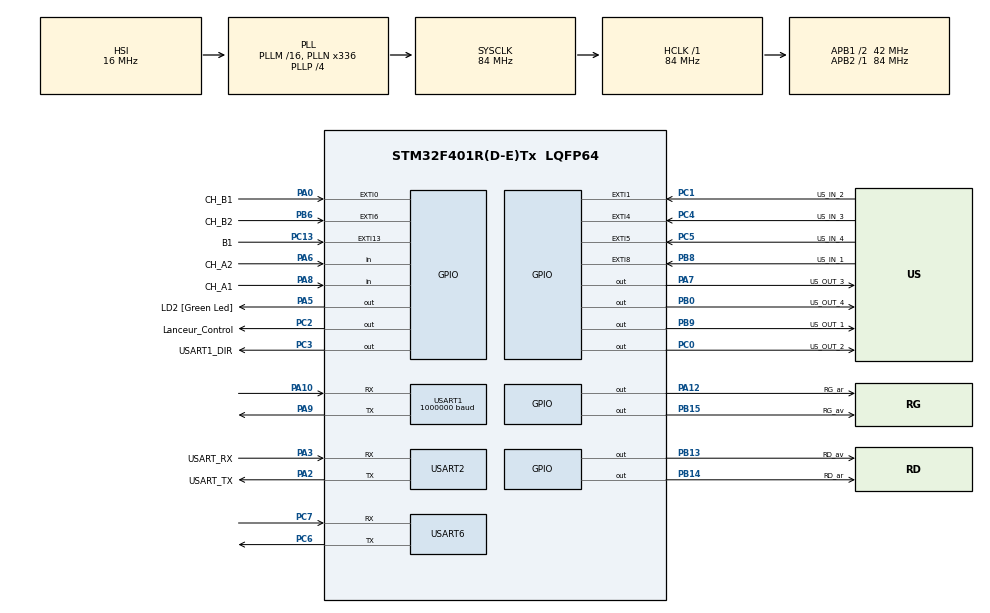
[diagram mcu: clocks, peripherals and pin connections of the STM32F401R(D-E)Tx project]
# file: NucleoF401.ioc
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Mcu.Family=STM32F4
Mcu.Name=STM32F401R(D-E)Tx
Mcu.Package=LQFP64
NVIC.EXTI0_IRQn=true\:0\:0\:false\:false\:true\:true
NVIC.EXTI15_10_IRQn=true\:0\:0\:false\:false\:true\:true
NVIC.EXTI1_IRQn=true\:0\:0\:false\:false\:true\:true
NVIC.EXTI4_IRQn=true\:0\:0\:false\:false\:true\:true
NVIC.EXTI9_5_IRQn=true\:0\:0\:false\:false\:true\:true
NVIC.PriorityGroup=NVIC_PRIORITYGROUP_0
NVIC.TIM1_UP_TIM10_IRQn=true\:0\:0\:false\:false\:true\:true
NVIC.TIM3_IRQn=true\:0\:0\:false\:false\:true\:true
PA0-WKUP.GPIO_Label=CH_B1
PA0-WKUP.GPIO_ModeDefaultEXTI=GPIO_MODE_IT_RISING_FALLING
PA0-WKUP.Signal=GPXTI0
PA10.Mode=Asynchronous
PA10.Signal=USART1_RX
PA12.GPIO_Label=RG_ar
PA12.Signal=GPIO_Output
PA13.GPIO_Label=TMS
PA13.Signal=SYS_JTMS-SWDIO
PA14.GPIO_Label=TCK
PA14.Signal=SYS_JTCK-SWCLK
PA2.GPIO_Label=USART_TX
PA2.GPIO_Mode=GPIO_MODE_AF_PP
PA2.GPIO_PuPd=GPIO_NOPULL
PA2.GPIO_Speed=GPIO_SPEED_FREQ_LOW
PA2.Mode=Asynchronous
PA2.Signal=USART2_TX
PA3.GPIO_Label=USART_RX
PA3.GPIO_Mode=GPIO_MODE_AF_PP
PA3.GPIO_PuPd=GPIO_NOPULL
PA3.GPIO_Speed=GPIO_SPEED_FREQ_LOW
PA3.Mode=Asynchronous
PA3.Signal=USART2_RX
PA5.GPIO_Label=LD2 [Green Led]
PA5.GPIO_Mode=GPIO_MODE_OUTPUT_PP
PA5.GPIO_PuPd=GPIO_NOPULL
PA5.GPIO_Speed=GPIO_SPEED_FREQ_LOW
PA5.Signal=GPIO_Output
PA6.GPIO_Label=CH_A2
PA6.Signal=GPIO_Input
PA7.GPIO_Label=US_OUT_3
PA7.Signal=GPIO_Output
PA8.GPIO_Label=CH_A1
PA8.Signal=GPIO_Input
PA9.Mode=Asynchronous
PA9.Signal=USART1_TX
PB0.GPIO_Label=US_OUT_4
PB0.Signal=GPIO_Output
PB13.GPIO_Label=RD_av
PB13.Signal=GPIO_Output
PB14.GPIO_Label=RD_ar
PB14.Signal=GPIO_Output
PB15.GPIO_Label=RG_av
PB15.Signal=GPIO_Output
PB3.GPIO_Label=SWO
PB3.Signal=SYS_JTDO-SWO
PB6.GPIO_Label=CH_B2
PB6.GPIO_ModeDefaultEXTI=GPIO_MODE_IT_RISING_FALLING
PB6.Signal=GPXTI6
PB8.GPIO_Label=US_IN_1
PB8.GPIO_ModeDefaultEXTI=GPIO_MODE_IT_RISING_FALLING
PB8.Signal=GPXTI8
PB9.GPIO_Label=US_OUT_1
PB9.Signal=GPIO_Output
PC0.GPIO_Label=US_OUT_2
PC0.Signal=GPIO_Output
PC1.GPIO_Label=US_IN_2
PC1.GPIO_ModeDefaultEXTI=GPIO_MODE_IT_RISING_FALLING
PC1.Signal=GPXTI1
PC13-ANTI_TAMP.GPIO_Label=B1
PC13-ANTI_TAMP.GPIO_ModeDefaultEXTI=GPIO_MODE_IT_FALLING
PC13-ANTI_TAMP.GPIO_PuPd=GPIO_NOPULL
PC13-ANTI_TAMP.Signal=GPXTI13
PC14-OSC32_IN.Signal=RCC_OSC32_IN
PC15-OSC32_OUT.Signal=RCC_OSC32_OUT
PC2.GPIO_Label=Lanceur_Control
PC2.Signal=GPIO_Output
PC3.GPIO_Label=USART1_DIR
PC3.Signal=GPIO_Output
PC4.GPIO_Label=US_IN_3
PC4.GPIO_ModeDefaultEXTI=GPIO_MODE_IT_RISING_FALLING
PC4.Signal=GPXTI4
PC5.GPIO_Label=US_IN_4
PC5.GPIO_ModeDefaultEXTI=GPIO_MODE_IT_RISING_FALLING
PC5.Signal=GPXTI5
PC6.Mode=Asynchronous
PC6.Signal=USART6_TX
PC7.Mode=Asynchronous
PC7.Signal=USART6_RX
PH0\ -\ OSC_IN.Signal=RCC_OSC_IN
PH1\ -\ OSC_OUT.Signal=RCC_OSC_OUT
ProjectManager.HeapSize=0x200
ProjectManager.StackSize=0x400
ProjectManager.TargetToolchain=Makefile
RCC.AHBFreq_Value=84000000
RCC.APB1CLKDivider=RCC_HCLK_DIV2
RCC.APB1Freq_Value=42000000
RCC.APB1TimFreq_Value=84000000
RCC.APB2Freq_Value=84000000
RCC.APB2TimFreq_Value=84000000
RCC.CortexFreq_Value=84000000
RCC.HCLKFreq_Value=84000000
RCC.HSE_VALUE=8000000
RCC.HSI_VALUE=16000000
RCC.LSE_VALUE=32768
RCC.PLLN=336
RCC.PLLP=RCC_PLLP_DIV4
RCC.PLLQ=7
RCC.SYSCLKFreq_VALUE=84000000
RCC.SYSCLKSource=RCC_SYSCLKSOURCE_PLLCLK
RCC.VCOOutputFreq_Value=336000000
TIM10.Period=8-1
TIM10.Prescaler=1000-1
TIM3.Period=1000-1
TIM3.Prescaler=42000-1
USART1.BaudRate=1000000
USART1.VirtualMode=VM_ASYNC
USART2.VirtualMode=VM_ASYNC
USART6.VirtualMode=VM_ASYNC
VP_TIM10_VS_ClockSourceINT.Mode=Enable_Timer
VP_TIM3_VS_ClockSourceINT.Mode=Internal
board=NUCLEO-F401RE

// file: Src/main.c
/**
  ******************************************************************************
  * @file           : main.c
  * @brief          : Main program body
  ******************************************************************************
  ** This notice applies to any and all portions of this file
  * that are not between comment pairs USER CODE BEGIN and
  * USER CODE END. Other portions of this file, whether
  * inserted by the user or by software development tools
  * are owned by their respective copyright owners.
  *
  * COPYRIGHT(c) 2018 STMicroelectronics
  *
  * Redistribution and use in source and binary forms, with or without modification,
  * are permitted provided that the following conditions are met:
  *   1. Redistributions of source code must retain the above copyright notice,
  *      this list of conditions and the following disclaimer.
  *   2. Redistributions in binary form must reproduce the above copyright notice,
  *      this list of conditions and the following disclaimer in the documentation
  *      and/or other materials provided with the distribution.
  *   3. Neither the name of STMicroelectronics nor the names of its contributors
  *      may be used to endorse or promote products derived from this software
  *      without specific prior written permission.
  *
  * THIS SOFTWARE IS PROVIDED BY THE COPYRIGHT HOLDERS AND CONTRIBUTORS "AS IS"
  * AND ANY EXPRESS OR IMPLIED WARRANTIES, INCLUDING, BUT NOT LIMITED TO, THE
  * IMPLIED WARRANTIES OF MERCHANTABILITY AND FITNESS FOR A PARTICULAR PURPOSE ARE
  * DISCLAIMED. IN NO EVENT SHALL THE COPYRIGHT HOLDER OR CONTRIBUTORS BE LIABLE
  * FOR ANY DIRECT, INDIRECT, INCIDENTAL, SPECIAL, EXEMPLARY, OR CONSEQUENTIAL
  * DAMAGES (INCLUDING, BUT NOT LIMITED TO, PROCUREMENT OF SUBSTITUTE GOODS OR
  * SERVICES; LOSS OF USE, DATA, OR PROFITS; OR BUSINESS INTERRUPTION) HOWEVER
  * CAUSED AND ON ANY THEORY OF LIABILITY, WHETHER IN CONTRACT, STRICT LIABILITY,
  * OR TORT (INCLUDING NEGLIGENCE OR OTHERWISE) ARISING IN ANY WAY OUT OF THE USE
  * OF THIS SOFTWARE, EVEN IF ADVISED OF THE POSSIBILITY OF SUCH DAMAGE.
  *
  ******************************************************************************
  */
#include "main.h"
#include "stm32f4xx_hal.h"
#include "tim.h"
#include "usart.h"
#include "gpio.h"

/* USER CODE BEGIN Includes */
//include odometry vl
#include "motor.h"
#include "odometry.h"
#include "Robotronik_corp_pid.h"
/* USER CODE END Includes */

/* USER CODE BEGIN PV */
/* Private variables ---------------------------------------------------------*/
//var for odometry
Odometry odometry;
volatile int sum_goal,diff_goal;
PID_DATA pid_sum;
PID_DATA pid_diff;

//robot dimension ... cf odometry.c
extern volatile int ENCODER_DIST;//distance between encoders
extern volatile int ENCODER_STEP_DIST;//distance for 1 encoder step/2
extern volatile int deltaL;
/* USER CODE END PV */

void SystemClock_Config(void);

/* USER CODE BEGIN PFP */
/* Private function prototypes -----------------------------------------------*/

/* USER CODE END PFP */

int main(void)
{

  /* MCU Configuration----------------------------------------------------------*/

  /* Reset of all peripherals, Initializes the Flash interface and the Systick. */
  HAL_Init();

  /* Configure the system clock */
  SystemClock_Config();

  /* Initialize all configured peripherals */
  MX_GPIO_Init();
  MX_USART1_UART_Init();
  MX_TIM3_Init();
  MX_USART2_UART_Init();
  MX_USART6_UART_Init();
  MX_TIM10_Init();
  /* USER CODE BEGIN 2 */
// PID init ------------------------------------------------------------------------
int Te = 10;//in ms
  int prec_steps_l=0,prec_steps_r=0;
  float kc=0,speed_percent=0,vr=0,vl=0,wc=0,val_r,val_l;//for interpolation
  //PID Sum
  pid_sum = (PID_DATA) {.Te = 0.01,
				 .Kp = 0.01,
				 .Ki = 0.01,
				 .Kd = 0.0001};
  pid_init(&pid_sum);

  //PID Diff
  pid_diff = (PID_DATA) {.Te = 0.01,
				  .Kp = 0.01,
				  .Ki = 0.01,
				  .Kd = 0.0001};
  pid_init(&pid_diff);

  fsm_pos_pts.pid_speed_l=(PID_SPEED_DATA) {.Te = 0.01,
				 .Kp = 0.01,
				 .Ki = 0.01,
				 .Kd = 0.0001};
  fsm_pos_pts.pid_speed_r=(PID_SPEED_DATA) {.Te = 0.01,
				 .Kp = 0.01,
				 .Ki = 0.01,
				 .Kd = 0.0001};

// odometry init --------------------------------------------------------------------------
init_odometry(&odometry, &htim10);
HAL_GPIO_WritePin(LD2_GPIO_Port,LD2_Pin,GPIO_PIN_RESET); // on eteind la led
  /* USER CODE END 2 */

  /* Infinite loop */
  /* USER CODE BEGIN WHILE */
  while (1)
  {
// lets go baby
  if((odometry->x >100)||(odometry->y >100)||(odometry->x <100)||(odometry->y <100)){
    HAL_GPIO_WritePin(LD2_GPIO_Port,LD2_Pin,GPIO_PIN_SET); // si 10 centimètre parcourut on alumen la led

  }
  /* USER CODE END WHILE */

  }

}

void SystemClock_Config(void)
{

  RCC_OscInitTypeDef RCC_OscInitStruct;
  RCC_ClkInitTypeDef RCC_ClkInitStruct;

    /**Configure the main internal regulator output voltage
    */
  __HAL_RCC_PWR_CLK_ENABLE();

  __HAL_PWR_VOLTAGESCALING_CONFIG(PWR_REGULATOR_VOLTAGE_SCALE2);

    /**Initializes the CPU, AHB and APB busses clocks
    */
  RCC_OscInitStruct.OscillatorType = RCC_OSCILLATORTYPE_HSI;
  RCC_OscInitStruct.HSIState = RCC_HSI_ON;
  RCC_OscInitStruct.HSICalibrationValue = 16;
  RCC_OscInitStruct.PLL.PLLState = RCC_PLL_ON;
  RCC_OscInitStruct.PLL.PLLSource = RCC_PLLSOURCE_HSI;
  RCC_OscInitStruct.PLL.PLLM = 16;
  RCC_OscInitStruct.PLL.PLLN = 336;
  RCC_OscInitStruct.PLL.PLLP = RCC_PLLP_DIV4;
  RCC_OscInitStruct.PLL.PLLQ = 7;
  if (HAL_RCC_OscConfig(&RCC_OscInitStruct) != HAL_OK)
  {
    _Error_Handler(__FILE__, __LINE__);
  }

    /**Initializes the CPU, AHB and APB busses clocks
    */
  RCC_ClkInitStruct.ClockType = RCC_CLOCKTYPE_HCLK|RCC_CLOCKTYPE_SYSCLK
                              |RCC_CLOCKTYPE_PCLK1|RCC_CLOCKTYPE_PCLK2;
  RCC_ClkInitStruct.SYSCLKSource = RCC_SYSCLKSOURCE_PLLCLK;
  RCC_ClkInitStruct.AHBCLKDivider = RCC_SYSCLK_DIV1;
  RCC_ClkInitStruct.APB1CLKDivider = RCC_HCLK_DIV2;
  RCC_ClkInitStruct.APB2CLKDivider = RCC_HCLK_DIV1;

  if (HAL_RCC_ClockConfig(&RCC_ClkInitStruct, FLASH_LATENCY_2) != HAL_OK)
  {
    _Error_Handler(__FILE__, __LINE__);
  }

    /**Configure the Systick interrupt time
    */
  HAL_SYSTICK_Config(HAL_RCC_GetHCLKFreq()/1000);

    /**Configure the Systick
    */
  HAL_SYSTICK_CLKSourceConfig(SYSTICK_CLKSOURCE_HCLK);

  /* SysTick_IRQn interrupt configuration */
  HAL_NVIC_SetPriority(SysTick_IRQn, 0, 0);
}

void _Error_Handler(char *file, int line)
{
  while(1)
  {
  }
}

/************************ (C) COPYRIGHT STMicroelectronics *****END OF FILE****/
